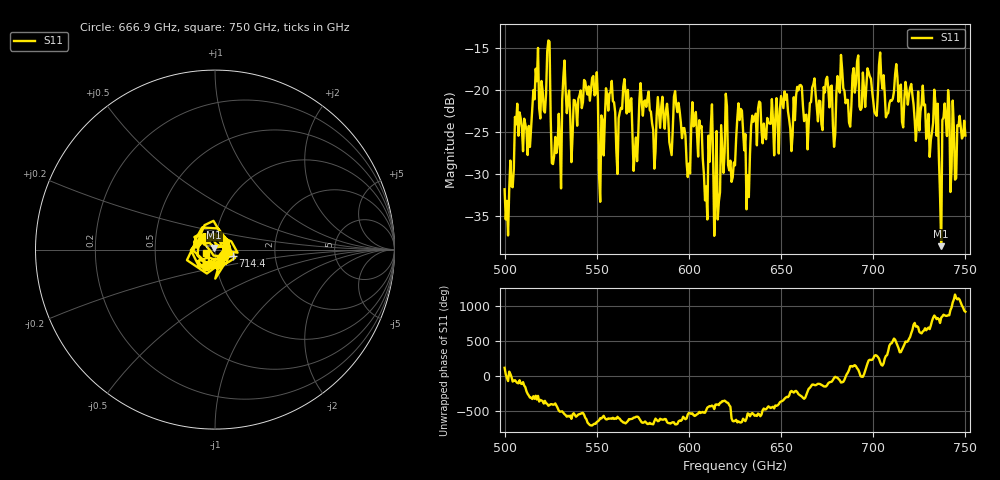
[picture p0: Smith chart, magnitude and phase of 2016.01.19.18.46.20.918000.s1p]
!Created with skrf (http://scikit-rf.org).
# GHz S RI R 50.0
!freq ReS11 ImS11
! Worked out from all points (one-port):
!   401 points, 500 GHz to 750 GHz, reference 50 ohm
!   lowest |S11| = -38.5 dB at 736.9 GHz (marker M1), VSWR 1.02, Z = 49.5 + j1.08 ohm
!   |S11| at or under -10 dB: start of sweep to end of sweep
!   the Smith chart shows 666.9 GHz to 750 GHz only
!   S11 on the Smith chart (normalised r, x): 666.9 GHz: 0.89, -0.16; 714.4 GHz: 1.22, -0.08; 750 GHz: 0.90, -0.03
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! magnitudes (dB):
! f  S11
! 500 GHz  -31.8
! 516.9 GHz  -17.5
! 523.8 GHz  -14.1
! 526.9 GHz  -27.8
! 531.2 GHz  -21.2
! 548.8 GHz  -20.6
! 552.5 GHz  -23.0
! 562.5 GHz  -22.6
! 593.8 GHz  -22.6
! 599.4 GHz  -30.3
! 605.6 GHz  -23.6
! 608.8 GHz  -33.1
! 611.9 GHz  -24.3
! 615 GHz  -24.9
! 619.4 GHz  -27.3
! 625 GHz  -28.9
! 627.5 GHz  -23.6
! 631.9 GHz  -30.1
! 635 GHz  -23.8
! 656.2 GHz  -25.4
! 666.9 GHz  -19.7
! 687.5 GHz  -24.3
! 714.4 GHz  -19.6
! 718.8 GHz  -21.7
! 733.8 GHz  -21.6
! 736.9 GHz  -38.5
! 740 GHz  -25.5
! 750 GHz  -25.4
